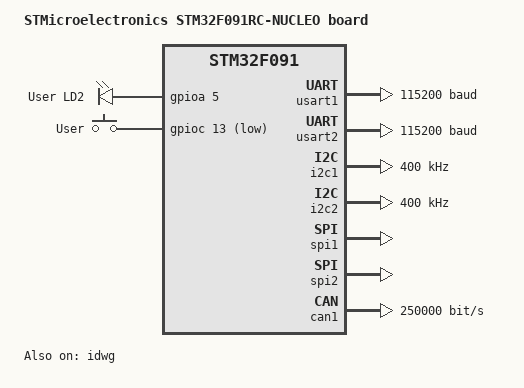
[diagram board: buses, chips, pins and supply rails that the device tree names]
/*
 * Copyright (c) 2017 Bobby Noelte
 *
 * SPDX-License-Identifier: Apache-2.0
 */

/dts-v1/;
#include <st/f0/stm32f091Xc.dtsi>

/ {
	model = "STMicroelectronics STM32F091RC-NUCLEO board";
	compatible = "st,stm32f091rc-nucleo", "st,stm32f091";

	chosen {
		zephyr,console = &usart2;
		zephyr,shell-uart = &usart2;
		zephyr,sram = &sram0;
		zephyr,flash = &flash0;
	};

	leds {
		compatible = "gpio-leds";
		green_led_2: led_2 {
			gpios = <&gpioa 5 GPIO_INT_ACTIVE_HIGH>;
			label = "User LD2";
		};
	};

	gpio_keys {
		compatible = "gpio-keys";
		user_button: button {
			label = "User";
			gpios = <&gpioc 13 GPIO_INT_ACTIVE_LOW>;
		};
	};

	aliases {
		led0 = &green_led_2;
		sw0 = &user_button;
	};
};

&pinctrl {
	status = "ok";
};

&gpioa {
	status = "ok";
};

&gpiob {
	status = "ok";
};

&gpioc {
	status = "ok";
};

&usart1 {
	current-speed = <115200>;
	pinctrl-0 = <&usart1_pins_a>;
	pinctrl-names = "default";
	status = "ok";
};

&usart2 {
	current-speed = <115200>;
	pinctrl-0 = <&usart2_pins_a>;
	pinctrl-names = "default";
	status = "ok";
};

arduino_i2c: &i2c1 {
	pinctrl-0 = <&i2c1_pins_b>;
	pinctrl-names = "default";
	status = "ok";
	clock-frequency = <I2C_BITRATE_FAST>;
};

&i2c2 {
	pinctrl-0 = <&i2c2_pins_a>;
	pinctrl-names = "default";
	status = "ok";
	clock-frequency = <I2C_BITRATE_FAST>;
};

arduino_spi: &spi1 {
	pinctrl-0 = <&spi1_master_a>;
	pinctrl-names = "default";
	status = "ok";
};

&spi2 {
	pinctrl-0 = <&spi2_slave_a>;
	pinctrl-names = "default";
	status = "ok";
};

&can1 {
	pinctrl-0 = <&can_pins_b>;
	pinctrl-names = "default";
	bus-speed = <250000>;
	status = "ok";
};


&idwg {
	status = "ok";
};
